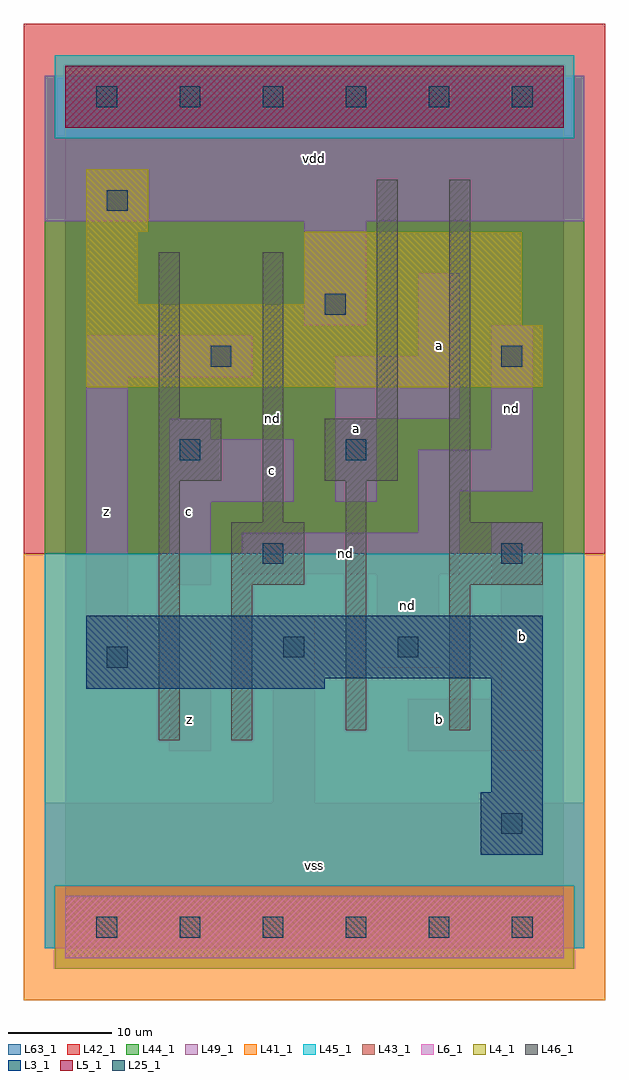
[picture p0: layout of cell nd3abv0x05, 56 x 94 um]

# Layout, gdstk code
import gdstk
lib = gdstk.Library(unit=1e-6, precision=1e-09)
def R(c, l, rs):  # rectangles x0, y0, x1, y1
    for r in rs: c.add(gdstk.rectangle(r[:2], r[2:], *l))
def A(c, l, x, y, w, h, nx, ny, dx, dy):  # array of equal rectangles
    R(c, l, [(x+i*dx, y+j*dy, x+i*dx+w, y+j*dy+h) for i in range(nx) for j in range(ny)])
L3_1 = (3, 1)
L4_1 = (4, 1)
L5_1 = (5, 1)
L6_1 = (6, 1)
L25_1 = (25, 1)
L41_1 = (41, 1)
L42_1 = (42, 1)
L43_1 = (43, 1)
L44_1 = (44, 1)
L45_1 = (45, 1)
L46_1 = (46, 1)
L49_1 = (49, 1)
L63_1 = (63, 1)

nd3abv0x05 = lib.new_cell('nd3abv0x05')
R(nd3abv0x05, L3_1, [(40,7,46,13), (41,13,46,24), (2,23,25,24), (2,24,46,30)])
R(nd3abv0x05, L4_1, [(2,52,46,58), (2,58,44,60), (2,60,7,67), (23,60,44,67), (2,67,8,73)])
R(nd3abv0x05, L5_1, [(0,77,48,83)])
R(nd3abv0x05, L6_1, [(0,-3,48,3), (0,-3,48,3)])
A(nd3abv0x05, L25_1, 3, -1, 2, 2, 6, 2, 8, 80)
R(nd3abv0x05, L25_1, [(42,9,44,11), (4,25,6,27), (21,26,23,28), (32,26,34,28), (19,35,21,37), (42,35,44,37), (11,45,13,47), (27,45,29,47), (14,54,16,56), (42,54,44,56), (25,59,27,61), (4,69,6,71)])
R(nd3abv0x05, L41_1, [(-4,-7,52,36)])
R(nd3abv0x05, L42_1, [(-4,36,52,87)])
R(nd3abv0x05, L43_1, [(0,-3,48,3), (40,7,46,13), (41,13,46,24), (2,23,25,24), (2,24,46,30), (2,52,46,58), (2,58,44,60), (2,60,7,67), (23,60,44,67), (2,67,8,73), (0,77,48,83)])
R(nd3abv0x05, L44_1, [(-1,-4,49,4), (-2,36,50,76), (-2,76,-1,82), (49,76,50,82)])
R(nd3abv0x05, L45_1, [(-2,-2,-1,4), (49,-2,50,4), (-2,4,50,36), (-1,76,49,84)])
R(nd3abv0x05, L46_1, [(9,18,11,43), (16,18,18,33), (27,19,29,43), (37,19,39,33), (16,33,23,39), (37,33,46,39), (19,39,21,65), (37,39,39,72), (9,43,15,49), (25,43,32,49), (9,49,11,65), (30,49,32,72)])
R(nd3abv0x05, L49_1, [(-2,-2,50,12), (20,12,24,30), (10,17,14,24), (33,17,46,22), (42,22,46,33), (2,24,14,28), (30,25,36,34), (2,28,6,53), (10,33,14,41), (41,33,46,39), (17,34,38,38), (34,38,38,42), (10,41,22,47), (26,41,30,49), (34,42,45,46), (41,46,45,58), (10,47,14,49), (26,49,38,55), (2,53,18,57), (34,55,38,63), (23,58,29,68), (-2,68,50,82)])
R(nd3abv0x05, L63_1, [(0,0,48,80)])
nd3abv0x05.add(gdstk.Label('nd', (20,49), layer=46, texttype=1))
nd3abv0x05.add(gdstk.Label('z', (4,40), layer=49, texttype=1))
nd3abv0x05.add(gdstk.Label('z', (12,20), layer=49, texttype=1))
nd3abv0x05.add(gdstk.Label('c', (20,44), layer=49, texttype=1))
nd3abv0x05.add(gdstk.Label('c', (12,40), layer=49, texttype=1))
nd3abv0x05.add(gdstk.Label('vss', (24,6), layer=49, texttype=1))
nd3abv0x05.add(gdstk.Label('nd', (33,31), layer=49, texttype=1))
nd3abv0x05.add(gdstk.Label('a', (28,48), layer=49, texttype=1))
nd3abv0x05.add(gdstk.Label('vdd', (24,74), layer=49, texttype=1))
nd3abv0x05.add(gdstk.Label('b', (36,20), layer=49, texttype=1))
nd3abv0x05.add(gdstk.Label('nd', (27,36), layer=49, texttype=1))
nd3abv0x05.add(gdstk.Label('b', (44,28), layer=49, texttype=1))
nd3abv0x05.add(gdstk.Label('nd', (43,50), layer=49, texttype=1))
nd3abv0x05.add(gdstk.Label('a', (36,56), layer=49, texttype=1))

lib.write_gds('nd3abv0x05.gds')
